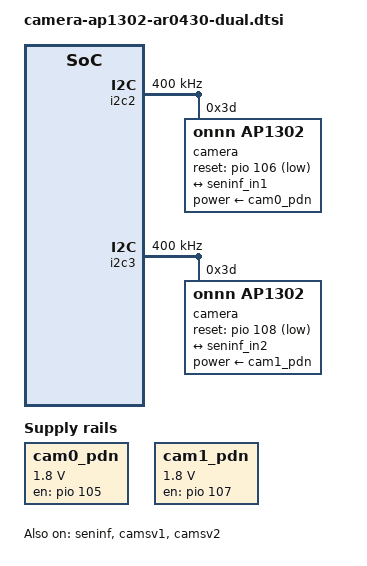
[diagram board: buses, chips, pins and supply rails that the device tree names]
// SPDX-License-Identifier: GPL-2.0
/*
 * Copyright (c) 2021 Baylibre, SAS
 * Author: Florian Sylvestre <florian.sylvestre@baylibre.com>
 */

#include <dt-bindings/clock/mt8365-clk.h>
#include <dt-bindings/gpio/gpio.h>
#include <dt-bindings/pinctrl/mt8365-pinfunc.h>

/dts-v1/;
/plugin/;

/ {
	fragment@0 {
		target-path = "/";
		__overlay__ {
			cam0_pdn: cam0-pdn-regulator {
				compatible = "regulator-fixed";
				regulator-name = "cam0_pdn";
				regulator-min-microvolt = <1800000>;
				regulator-max-microvolt = <1800000>;
				gpio = <&pio 105 0>;
				startup-delay-us = <18000>;
				enable-active-high;
			};

			cam1_pdn: cam1-pdn-regulator {
				compatible = "regulator-fixed";
				regulator-name = "cam1_pdn";
				regulator-min-microvolt = <1800000>;
				regulator-max-microvolt = <1800000>;
				gpio = <&pio 107 0>;
				startup-delay-us = <18000>;
				enable-active-high;
			};
		};
	};

	fragment@1 {
		target = <&pio>;
		__overlay__ {
			cam0_pins_default: cam0_pins_default {
				pins_clk_rst {
					pinmux = <MT8365_PIN_65_CMMCLK0__FUNC_CMMCLK0>,
						<MT8365_PIN_105_NCLE__FUNC_GPIO105>,
						<MT8365_PIN_106_NCEB1__FUNC_GPIO106>;
				};
			};

			cam1_pins_default: cam1_pins_default {
				pins_clk_rst {
					pinmux = <MT8365_PIN_66_CMMCLK1__FUNC_CMMCLK1>,
						 <MT8365_PIN_107_NCEB0__FUNC_GPIO107>,
						 <MT8365_PIN_108_NREB__FUNC_GPIO108>;
				};
			};
		};
	};

	fragment@2 {
		target = <&i2c2>;
		__overlay__ {
			clock-frequency = <400000>;

			camera@3d {  /* Rear camera */
				compatible = "onnn,ap1302";
				reg = <0x3d>;

				pinctrl-names = "default";
				pinctrl-0 = <&cam0_pins_default>;

				clocks = <&topckgen CLK_TOP_CAMTG_SEL>;
				assigned-clocks = <&topckgen CLK_TOP_CAMTG_SEL>;
				assigned-clock-parents = <&topckgen CLK_TOP_USB20_192M_D4>;

				reset-gpios = <&pio 106 GPIO_ACTIVE_LOW>;

				power-supply = <&cam0_pdn>;

				orientation = <0>;
				rotation = <0>;

				port {
					isp1_out: endpoint {
						remote-endpoint = <&seninf_in1>;
						data-lanes = <1 2 3 4>;
					};
				};

				sensors {
					#address-cells = <1>;
					#size-cells = <0>;

					onnn,model = "onnn,ar0430";

					sensor@0 {
						reg = <0>;
					};
				};
			};
		};
	};

	fragment@3 {
		target = <&i2c3>;
		__overlay__ {
			clock-frequency = <400000>;

			camera@3d { /* Front camera */
				compatible = "onnn,ap1302";
				reg = <0x3d>;

				pinctrl-names = "default";
				pinctrl-0 = <&cam1_pins_default>;

				clocks = <&topckgen CLK_TOP_CAMTG1_SEL>;
				assigned-clocks = <&topckgen CLK_TOP_CAMTG1_SEL>;
				assigned-clock-parents = <&topckgen CLK_TOP_USB20_192M_D4>;

				reset-gpios = <&pio 108 GPIO_ACTIVE_LOW>;

				power-supply = <&cam1_pdn>;

				orientation = <0>;
				rotation = <0>;

				port {
					isp2_out: endpoint {
						remote-endpoint = <&seninf_in2>;
						data-lanes = <1 2 3 4>;
					};
				};

				sensors {
					#address-cells = <1>;
					#size-cells = <0>;

					onnn,model = "onnn,ar0430";

					sensor@0 {
						reg = <0>;
					};
				};
			};
		};
	};

	fragment@4 {
		target = <&seninf>;
		__overlay__ {
			status = "okay";

			ports {
				port@0 {
					seninf_in1: endpoint {
						clock-lanes = <2>;
						data-lanes = <1 3 0 4>;
						remote-endpoint = <&isp1_out>;
					};
				};

				port@1 {
					seninf_in2: endpoint {
						clock-lanes = <2>;
						data-lanes = <1 3 0 4>;
						remote-endpoint = <&isp2_out>;
					};
				};
			};
		};
	};

	fragment@5 {
		target = <&camsv1>;
		__overlay__ {
			status = "okay";
		};
	};

	fragment@6 {
		target = <&camsv2>;
		__overlay__ {
			status = "okay";
		};
	};
};
